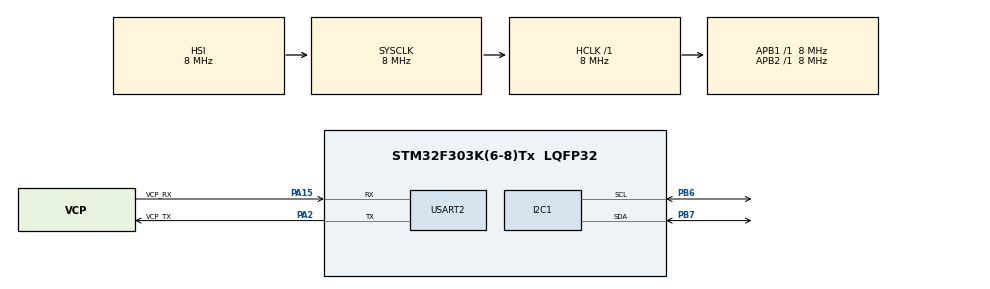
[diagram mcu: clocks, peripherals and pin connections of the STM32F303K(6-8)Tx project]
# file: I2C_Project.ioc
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I2C1.Timing=0x00201D2B
Mcu.Family=STM32F3
Mcu.Name=STM32F303K(6-8)Tx
Mcu.Package=LQFP32
NVIC.PriorityGroup=NVIC_PRIORITYGROUP_4
PA13.GPIO_Label=SWDIO
PA13.Mode=Serial_Wire
PA13.Signal=SYS_JTMS-SWDIO
PA14.GPIO_Label=SWCLK
PA14.Mode=Serial_Wire
PA14.Signal=SYS_JTCK-SWCLK
PA15.GPIO_Label=VCP_RX
PA15.Mode=Asynchronous
PA15.Signal=USART2_RX
PA2.GPIO_Label=VCP_TX
PA2.Mode=Asynchronous
PA2.Signal=USART2_TX
PB6.Mode=I2C
PB6.Signal=I2C1_SCL
PB7.Mode=I2C
PB7.Signal=I2C1_SDA
PF0\ /\ OSC_IN.GPIO_Label=MCO
PF0\ /\ OSC_IN.Mode=HSE-External-Clock-Source
PF0\ /\ OSC_IN.Signal=RCC_OSC_IN
ProjectManager.HeapSize=0x200
ProjectManager.StackSize=0x400
ProjectManager.TargetToolchain=CMake
RCC.AHBFreq_Value=8000000
RCC.APB1Freq_Value=8000000
RCC.APB2Freq_Value=8000000
RCC.CortexFreq_Value=8000000
RCC.HSE_VALUE=8000000
RCC.HSI_VALUE=8000000
RCC.SYSCLKFreq_VALUE=8000000
USART2.VirtualMode-Asynchronous=VM_ASYNC
board=NUCLEO-F303K8

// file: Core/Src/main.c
/* USER CODE BEGIN Header */
/**
  ******************************************************************************
  * @file           : main.c
  * @brief          : Main program body
  ******************************************************************************
  * @attention
  *
  * Copyright (c) 2026 STMicroelectronics.
  * All rights reserved.
  *
  * This software is licensed under terms that can be found in the LICENSE file
  * in the root directory of this software component.
  * If no LICENSE file comes with this software, it is provided AS-IS.
  *
  ******************************************************************************
  */
/* USER CODE END Header */
#include "main.h"
#include "i2c.h"
#include "usart.h"
#include "gpio.h"

/* USER CODE BEGIN Includes */
#include <string.h>
#include <stdio.h>
#include <stdlib.h>
/* USER CODE END Includes */

void SystemClock_Config(void);

/* USER CODE BEGIN 0 */
/* ----- WF100D sensor (single device, no mux) ----- */
#define WF100D_ADDR8      (0x6D << 1) /* 8-bit I2C address */
#define WF_REG_SPI_CTRL   0x00        /* soft reset */
#define WF_REG_STATUS     0x02        /* bit0 = DRDY */
#define WF_REG_DATA       0x06        /* 0x06..0x08 : 24-bit pressure */
#define WF_REG_TEMP       0x09        /* 0x09..0x0A : 16-bit temperature */
#define WF_REG_CMD        0x30        /* bit3 = Sco, bits2:0 = measurement mode */
#define WF_CMD_START      0x0A        /* combined conversion (010) + Sco (1<<3) */
#define WF_CMD_SOFT_RESET 0x24        /* Soft_reset: sets bits 5 and 2, auto-clears */
#define WF_STATUS_DRDY    0x01

/* Pressure transfer function (from Adafruit_WF100DPZ, tunable for the 200 kPa
 * gauge part):  pressure_kPa = (signed_raw / 2^23) * SCALE + OFFSET
 * Constants held in centi-kPa (x100) so the conversion stays integer-only. */
#define WF_P_DIV       8388608LL      /* 2^23 */
#define WF_P_SCALE_C   25000LL        /* 250.00 kPa */
#define WF_P_OFFSET_C  2500LL         /*  25.00 kPa */

/* Send a null-terminated string over the ST-Link VCP (USART2). */
static void uart_print(const char *s)
{
  HAL_UART_Transmit(&huart2, (uint8_t *)s, strlen(s), HAL_MAX_DELAY);
}

/* DIAG: which stage the last read reached. 1=CMD write, 2=STATUS poll,
 * 3=DATA read. Set as the read progresses so a failure pinpoints the stage. */
static uint8_t g_wf_stage;
static uint8_t g_wf_status;   /* last STATUS byte read */

/* Read one measurement (pressure + temperature) from the sensor.
 * Returns HAL_OK on success; *p_raw is sign-extended 24-bit pressure,
 * *t_raw is signed 16-bit temperature (LSB = 1/256 C). */
static HAL_StatusTypeDef wf100d_read(int32_t *p_raw, int16_t *t_raw)
{
  uint8_t cmd = WF_CMD_START;
  uint8_t status = 0;
  uint8_t buf[5];

  /* Start a conversion. */
  g_wf_stage = 1;
  if (HAL_I2C_Mem_Write(&hi2c1, WF100D_ADDR8, WF_REG_CMD,
                        I2C_MEMADD_SIZE_8BIT, &cmd, 1, 100) != HAL_OK)
  {
    return HAL_ERROR;
  }

  /* Poll DRDY (bit0 of Status) with a timeout. */
  g_wf_stage = 2;
  uint32_t start = HAL_GetTick();
  do
  {
    if (HAL_GetTick() - start > 100) { g_wf_status = status; return HAL_TIMEOUT; }
    if (HAL_I2C_Mem_Read(&hi2c1, WF100D_ADDR8, WF_REG_STATUS,
                         I2C_MEMADD_SIZE_8BIT, &status, 1, 100) != HAL_OK)
    {
      return HAL_ERROR;
    }
    g_wf_status = status;
  } while ((status & WF_STATUS_DRDY) == 0);

  g_wf_stage = 3;

  /* Read 24-bit pressure (0x06..0x08) and 16-bit temperature (0x09..0x0A). */
  if (HAL_I2C_Mem_Read(&hi2c1, WF100D_ADDR8, WF_REG_DATA,
                       I2C_MEMADD_SIZE_8BIT, buf, 3, 100) != HAL_OK ||
      HAL_I2C_Mem_Read(&hi2c1, WF100D_ADDR8, WF_REG_TEMP,
                       I2C_MEMADD_SIZE_8BIT, &buf[3], 2, 100) != HAL_OK)
  {
    return HAL_ERROR;
  }

  int32_t p = ((int32_t)buf[0] << 16) | ((int32_t)buf[1] << 8) | buf[2];
  if (p & 0x800000) p |= 0xFF000000;          /* sign-extend 24 -> 32 */
  *p_raw = p;
  *t_raw = (int16_t)((buf[3] << 8) | buf[4]);  /* signed 16-bit */

  return HAL_OK;
}

/* USER CODE END 0 */

int main(void)
{

  /* MCU Configuration--------------------------------------------------------*/

  /* Reset of all peripherals, Initializes the Flash interface and the Systick. */
  HAL_Init();

  /* Configure the system clock */
  SystemClock_Config();

  /* Initialize all configured peripherals */
  MX_GPIO_Init();
  MX_I2C1_Init();
  MX_USART2_UART_Init();
  /* USER CODE BEGIN 2 */
  uart_print("\r\n=== WF100D sensor read ===\r\n");

  /* DIAG: does the sensor ACK its address at all? */
  {
    char dbg[80];
    HAL_StatusTypeDef rdy = HAL_I2C_IsDeviceReady(&hi2c1, WF100D_ADDR8, 3, 100);
    snprintf(dbg, sizeof(dbg), "probe addr 0x%02X: rdy=%d halerr=0x%08lX\r\n",
             (WF100D_ADDR8 >> 1), (int)rdy,
             (unsigned long)HAL_I2C_GetError(&hi2c1));
    uart_print(dbg);
  }

  /* USER CODE END 2 */

  /* Infinite loop */
  while (1)
  {

    /* USER CODE BEGIN 3 */
    int32_t p_raw;
    int16_t t_raw;
    char line[80];

    if (wf100d_read(&p_raw, &t_raw) == HAL_OK)
    {
      /* Fixed-point print (no float). Pressure via the affine transfer
       * function in centi-kPa; temperature = raw/256 C. */
      long p_ckpa = (long)((int64_t)p_raw * WF_P_SCALE_C / WF_P_DIV + WF_P_OFFSET_C);
      long t_centi = (long)t_raw * 100 / 256;
      snprintf(line, sizeof(line),
               "P=%s%ld.%02ld kPa (raw %ld)  T=%s%ld.%02ld C\r\n",
               p_ckpa < 0 ? "-" : "", labs(p_ckpa) / 100, labs(p_ckpa) % 100,
               (long)p_raw,
               t_centi < 0 ? "-" : "", labs(t_centi) / 100, labs(t_centi) % 100);
      uart_print(line);
    }
    else
    {
      char dbg[80];
      snprintf(dbg, sizeof(dbg),
               "read error: stage=%u status=0x%02X halerr=0x%08lX\r\n",
               g_wf_stage, g_wf_status,
               (unsigned long)HAL_I2C_GetError(&hi2c1));
      uart_print(dbg);
    }

    HAL_Delay(500);
  }
  /* USER CODE END 3 */
}

void SystemClock_Config(void)
{
  RCC_OscInitTypeDef RCC_OscInitStruct = {0};
  RCC_ClkInitTypeDef RCC_ClkInitStruct = {0};
  RCC_PeriphCLKInitTypeDef PeriphClkInit = {0};

  /** Initializes the RCC Oscillators according to the specified parameters
  * in the RCC_OscInitTypeDef structure.
  */
  RCC_OscInitStruct.OscillatorType = RCC_OSCILLATORTYPE_HSI;
  RCC_OscInitStruct.HSIState = RCC_HSI_ON;
  RCC_OscInitStruct.HSICalibrationValue = RCC_HSICALIBRATION_DEFAULT;
  RCC_OscInitStruct.PLL.PLLState = RCC_PLL_NONE;
  if (HAL_RCC_OscConfig(&RCC_OscInitStruct) != HAL_OK)
  {
    Error_Handler();
  }

  /** Initializes the CPU, AHB and APB buses clocks
  */
  RCC_ClkInitStruct.ClockType = RCC_CLOCKTYPE_HCLK|RCC_CLOCKTYPE_SYSCLK
                              |RCC_CLOCKTYPE_PCLK1|RCC_CLOCKTYPE_PCLK2;
  RCC_ClkInitStruct.SYSCLKSource = RCC_SYSCLKSOURCE_HSI;
  RCC_ClkInitStruct.AHBCLKDivider = RCC_SYSCLK_DIV1;
  RCC_ClkInitStruct.APB1CLKDivider = RCC_HCLK_DIV1;
  RCC_ClkInitStruct.APB2CLKDivider = RCC_HCLK_DIV1;

  if (HAL_RCC_ClockConfig(&RCC_ClkInitStruct, FLASH_LATENCY_0) != HAL_OK)
  {
    Error_Handler();
  }
  PeriphClkInit.PeriphClockSelection = RCC_PERIPHCLK_I2C1;
  PeriphClkInit.I2c1ClockSelection = RCC_I2C1CLKSOURCE_HSI;
  if (HAL_RCCEx_PeriphCLKConfig(&PeriphClkInit) != HAL_OK)
  {
    Error_Handler();
  }
}

void Error_Handler(void)
{
  __disable_irq();
  while (1)
  {
  }
}
